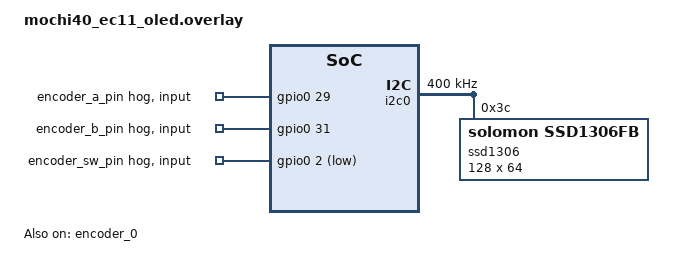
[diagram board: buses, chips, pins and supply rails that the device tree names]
// Định nghĩa các chân GPIO cho matrix bàn phím của bạn
// Cần thay đổi cho phù hợp với PCB Mochi40 và cách bạn nối dây vào nice!nano
&kscan0 {
    col-gpios
        = <&gpio0 1 (GPIO_ACTIVE_HIGH | GPIO_PULL_UP)> // Col 0
        , <&gpio0 0 (GPIO_ACTIVE_HIGH | GPIO_PULL_UP)> // Col 1
        , <&gpio0 10 (GPIO_ACTIVE_HIGH | GPIO_PULL_UP)> // Col 2
        , <&gpio0 9 (GPIO_ACTIVE_HIGH | GPIO_PULL_UP)> // Col 3
        , <&gpio0 8 (GPIO_ACTIVE_HIGH | GPIO_PULL_UP)> // Col 4
        , <&gpio0 7 (GPIO_ACTIVE_HIGH | GPIO_PULL_UP)> // Col 5
        , <&gpio0 6 (GPIO_ACTIVE_HIGH | GPIO_PULL_UP)> // Col 6
        , <&gpio0 5 (GPIO_ACTIVE_HIGH | GPIO_PULL_UP)> // Col 7
        , <&gpio0 4 (GPIO_ACTIVE_HIGH | GPIO_PULL_UP)> // Col 8
        , <&gpio0 3 (GPIO_ACTIVE_HIGH | GPIO_PULL_UP)> // Col 9
        , <&gpio0 2 (GPIO_ACTIVE_HIGH | GPIO_PULL_UP)> // Col 10
        ;
    row-gpios
        = <&gpio0 12 GPIO_ACTIVE_HIGH> // Row 0
        , <&gpio0 13 GPIO_ACTIVE_HIGH> // Row 1
        , <&gpio0 14 GPIO_ACTIVE_HIGH> // Row 2
        , <&gpio0 15 GPIO_ACTIVE_HIGH> // Row 3
        ;
};

// Cấu hình Encoder (EC11) - Điều chỉnh các chân GPIO nếu cần
&gpio0 {
    encoder_a_pin: encoder_a_pin {
        gpio-hog;
        gpios = <29 GPIO_ACTIVE_HIGH>; // CLK (D5 trên nice!nano)
        input;
        pull-up;
    };
    encoder_b_pin: encoder_b_pin {
        gpio-hog;
        gpios = <31 GPIO_ACTIVE_HIGH>; // DT (D6 trên nice!nano)
        input;
        pull-up;
    };
    encoder_sw_pin: encoder_sw_pin {
        gpio-hog;
        gpios = <2 GPIO_ACTIVE_LOW>; // SW (D7 trên nice!nano)
        input;
        pull-up;
    };
};

&encoder_0 {
    status = "okay";
    gpios = <&gpio0 29 (GPIO_ACTIVE_HIGH | GPIO_PULL_UP)>,
            <&gpio0 31 (GPIO_ACTIVE_HIGH | GPIO_PULL_UP)>;
};

// Cấu hình OLED SSD1306 - Điều chỉnh nếu địa chỉ I2C hoặc kích thước khác
&i2c0 {
    status = "okay";
    clock-frequency = <I2C_BITRATE_FAST>;

    ssd1306: ssd1306@3c {
        compatible = "solomon,ssd1306fb";
        reg = <0x3c>; // Địa chỉ I2C phổ biến
        width = <128>;
        height = <64>; // Hoặc 32 nếu bạn dùng loại 128x32
        multiplex-ratio = <63>; // 63 cho màn hình 64 pixel, 31 cho 32 pixel
        segment-remap;
        com-alt-remap;
        com-invert-disable;
    };
};
Add Mochi40 EC11 OLED shield config and keymap
